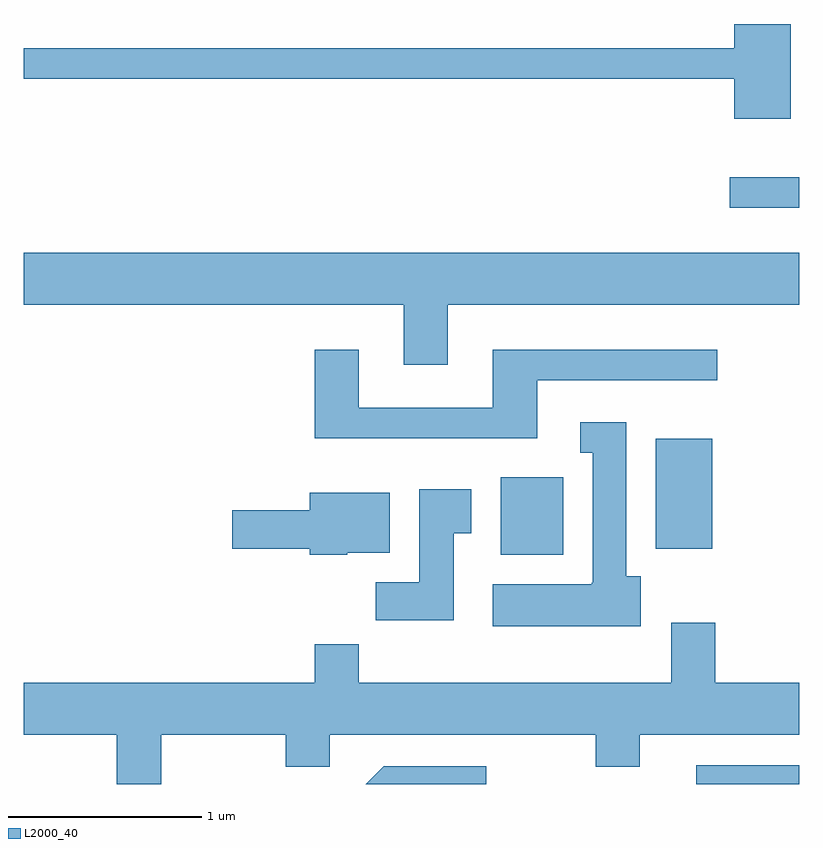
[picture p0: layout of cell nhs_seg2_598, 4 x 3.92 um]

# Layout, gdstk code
import gdstk
lib = gdstk.Library(unit=1e-6, precision=1e-09)
def R(c, l, rs):  # rectangles x0, y0, x1, y1
    for r in rs: c.add(gdstk.rectangle(r[:2], r[2:], *l))
def P(c, l, *ps):  # polygons
    for p in ps: c.add(gdstk.Polygon(p, *l))
L2000_40 = (2000, 40)

nhs_seg2_598 = lib.new_cell('nhs_seg2_598')
R(nhs_seg2_598, L2000_40, [(205.081,1085.802,205.611,1085.899), (204.071,1086.986,204.394,1087.384), (204.871,1087.016,205.164,1087.584), (205.253,1088.776,205.611,1088.934)])
P(nhs_seg2_598, L2000_40, [(205.569,1089.724),(205.276,1089.724),(205.276,1089.599),(201.611,1089.599),(201.611,1089.441),(205.276,1089.441),(205.276,1089.236),(205.569,1089.236)],
  [(203.799,1088.276),(205.611,1088.276),(205.611,1088.544),(201.611,1088.544),(201.611,1088.276),(203.571,1088.276),(203.571,1087.966),(203.799,1087.966)],
  [(204.259,1087.886),(205.188,1087.886),(205.188,1088.044),(204.031,1088.044),(204.031,1087.744),(203.339,1087.744),(203.339,1088.044),(203.111,1088.044),(203.111,1087.586),(204.259,1087.586)],
  [(204.794,1086.874),(204.719,1086.874),(204.719,1087.669),(204.483,1087.669),(204.483,1087.511),(204.546,1087.511),(204.546,1086.84),(204.54,1086.84),(204.54,1086.834),(204.031,1086.834),(204.031,1086.616),(204.794,1086.616)],
  [(203.829,1087.096),(203.919,1087.096),(203.919,1087.324),(203.651,1087.324),(203.651,1086.844),(203.426,1086.844),(203.426,1086.646),(203.829,1086.646)],
  [(203.28,1086.996),(203.499,1086.996),(203.499,1087.304),(203.086,1087.304),(203.086,1087.214),(202.686,1087.214),(202.686,1087.016),(203.086,1087.016),(203.086,1086.986),(203.28,1086.986)],
  [(202.319,1086.056),(202.961,1086.056),(202.961,1085.891),(203.189,1085.891),(203.189,1086.056),(204.561,1086.056),(204.561,1085.891),(204.789,1085.891),(204.789,1086.056),(205.611,1086.056),(205.611,1086.324),(205.179,1086.324),(205.179,1086.634),(204.951,1086.634),(204.951,1086.324),(203.339,1086.324),(203.339,1086.524),(203.111,1086.524),(203.111,1086.324),(201.611,1086.324),(201.611,1086.056),(202.091,1086.056),(202.091,1085.802),(202.319,1085.802)],
  [(203.998,1085.894),(203.469,1085.894),(203.376,1085.802),(203.998,1085.802)])

lib.write_gds('nhs_seg2_598.gds')
